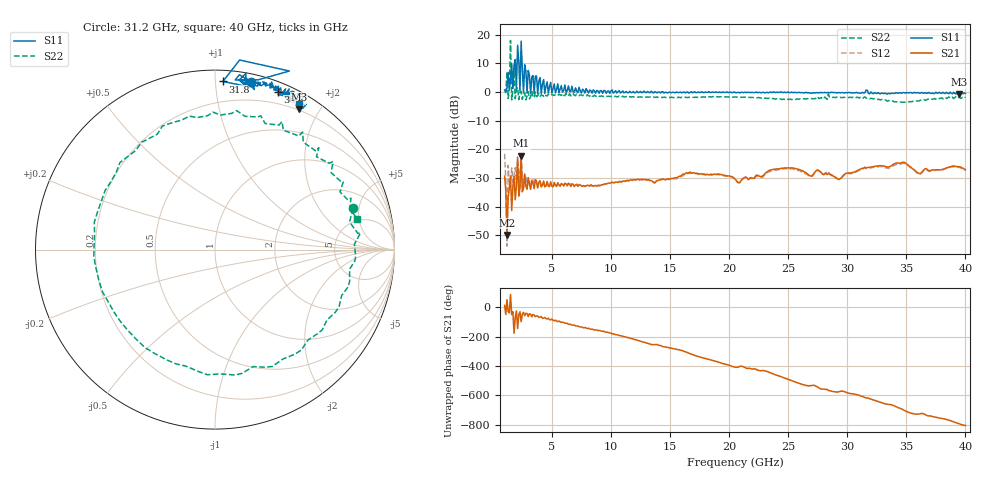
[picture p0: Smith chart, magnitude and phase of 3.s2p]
!Keysight Technologies,N5224A,MY55441802,A.10.65.16
!Date: Wednesday, May 13, 2026 19:02:56
!Correction: S11(Full 2 Port(1,2))
!S21(Full 2 Port(1,2))
!S12(Full 2 Port(1,2))
!S22(Full 2 Port(1,2))
!S2P File: Measurements: S11, S21, S12, S22:
# Hz S  dB  R 50
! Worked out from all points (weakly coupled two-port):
!   391 points, 1 GHz to 40 GHz, reference 50 ohm
!   highest |S21| = -22.28 dB at 2.4 GHz (marker M1); lowest = -49.9 dB at 1.2 GHz (marker M2)
!   lowest |S11| = -0.8 dB at 39.5 GHz (marker M3), VSWR 21.36, Z = 9.57 + j87.5 ohm
!   |S11| at or under -10 dB: nowhere
!   |S22| runs from -3.6 to 17.9 dB; largest |S21 - S12| = 0.049
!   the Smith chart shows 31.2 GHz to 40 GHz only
!   S11 on the Smith chart (normalised r, x): 31.2 GHz: 0.06, +1.23; 31.8 GHz: 0.07, +1.05; 36.7 GHz: 0.09, +1.47; 40 GHz: 0.13, +1.73
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1e9  0.64 -109.4  -29.38 12.6  -21.58 11.1  0.17 -171.1
1.2e9  1.40 7.1  -49.89 51.3  -53.81 138.8  7.02 6.9
1.4e9  1.05 169.7  -33.48 -38.2  -31.03 -49.6  0.77 56.9
1.5e9  3.92 11.7  -29.37 86.2  -31.97 139.0  17.94 33.6
1.6e9  9.88 -147.0  -41.39 -50.0  -26.51 -45.0  -2.78 114.6
1.8e9  9.33 14.6  -29.45 -177.1  -29.21 -163.7  8.18 112.0
1.9e9  11.27 -155.2  -37.60 -70.9  -26.47 -53.2  -2.39 103.7
2.1e9  16.28 53.3  -22.73 -145.2  -23.90 -134.8  1.57 95.4
2.2e9  10.69 -160.7  -36.33 -50.8  -26.76 -59.2  -2.71 94.2
2.3e9  0.29 167.3  -33.44 -30.6  -33.08 -38.9  -0.25 70.4
2.4e9  17.71 103.0  -22.28 -97.9  -22.20 -89.4  0.18 78.9
2.5e9  7.79 -172.2  -34.85 -47.4  -29.43 -61.1  -2.59 83.7
7.5e9  -0.37 154.7  -32.81 -134.1  -32.89 -137.2  -1.07 -123.9
1.4e10  0.01 136.0  -30.90 102.1  -30.98 101.1  -1.92 -20.4
2.05e10  -0.15 117.2  -30.38 -47.4  -30.33 -48.7  -1.78 75.8
2.7e10  -0.47 95.7  -29.35 -172.6  -29.37 -171.8  -2.35 155.2
3.12e10  -0.39 78.0  -26.72 114.6  -26.93 115.0  -1.92 16.7
3.18e10  -0.56 87.3  -26.33 100.6  -26.62 100.5  -2.14 -4.5
3.35e10  -0.55 76.7  -26.18 59.0  -26.71 58.4  -3.03 -77.5
3.67e10  -0.47 68.3  -26.79 -14.9  -27.09 -13.8  -2.87 116.6
3.95e10  -0.81 59.0  -26.14 -73.8  -26.32 -73.8  -1.85 27.8
4e10  -0.57 60.0  -27.13 -84.1  -27.42 -84.4  -1.81 12.1
